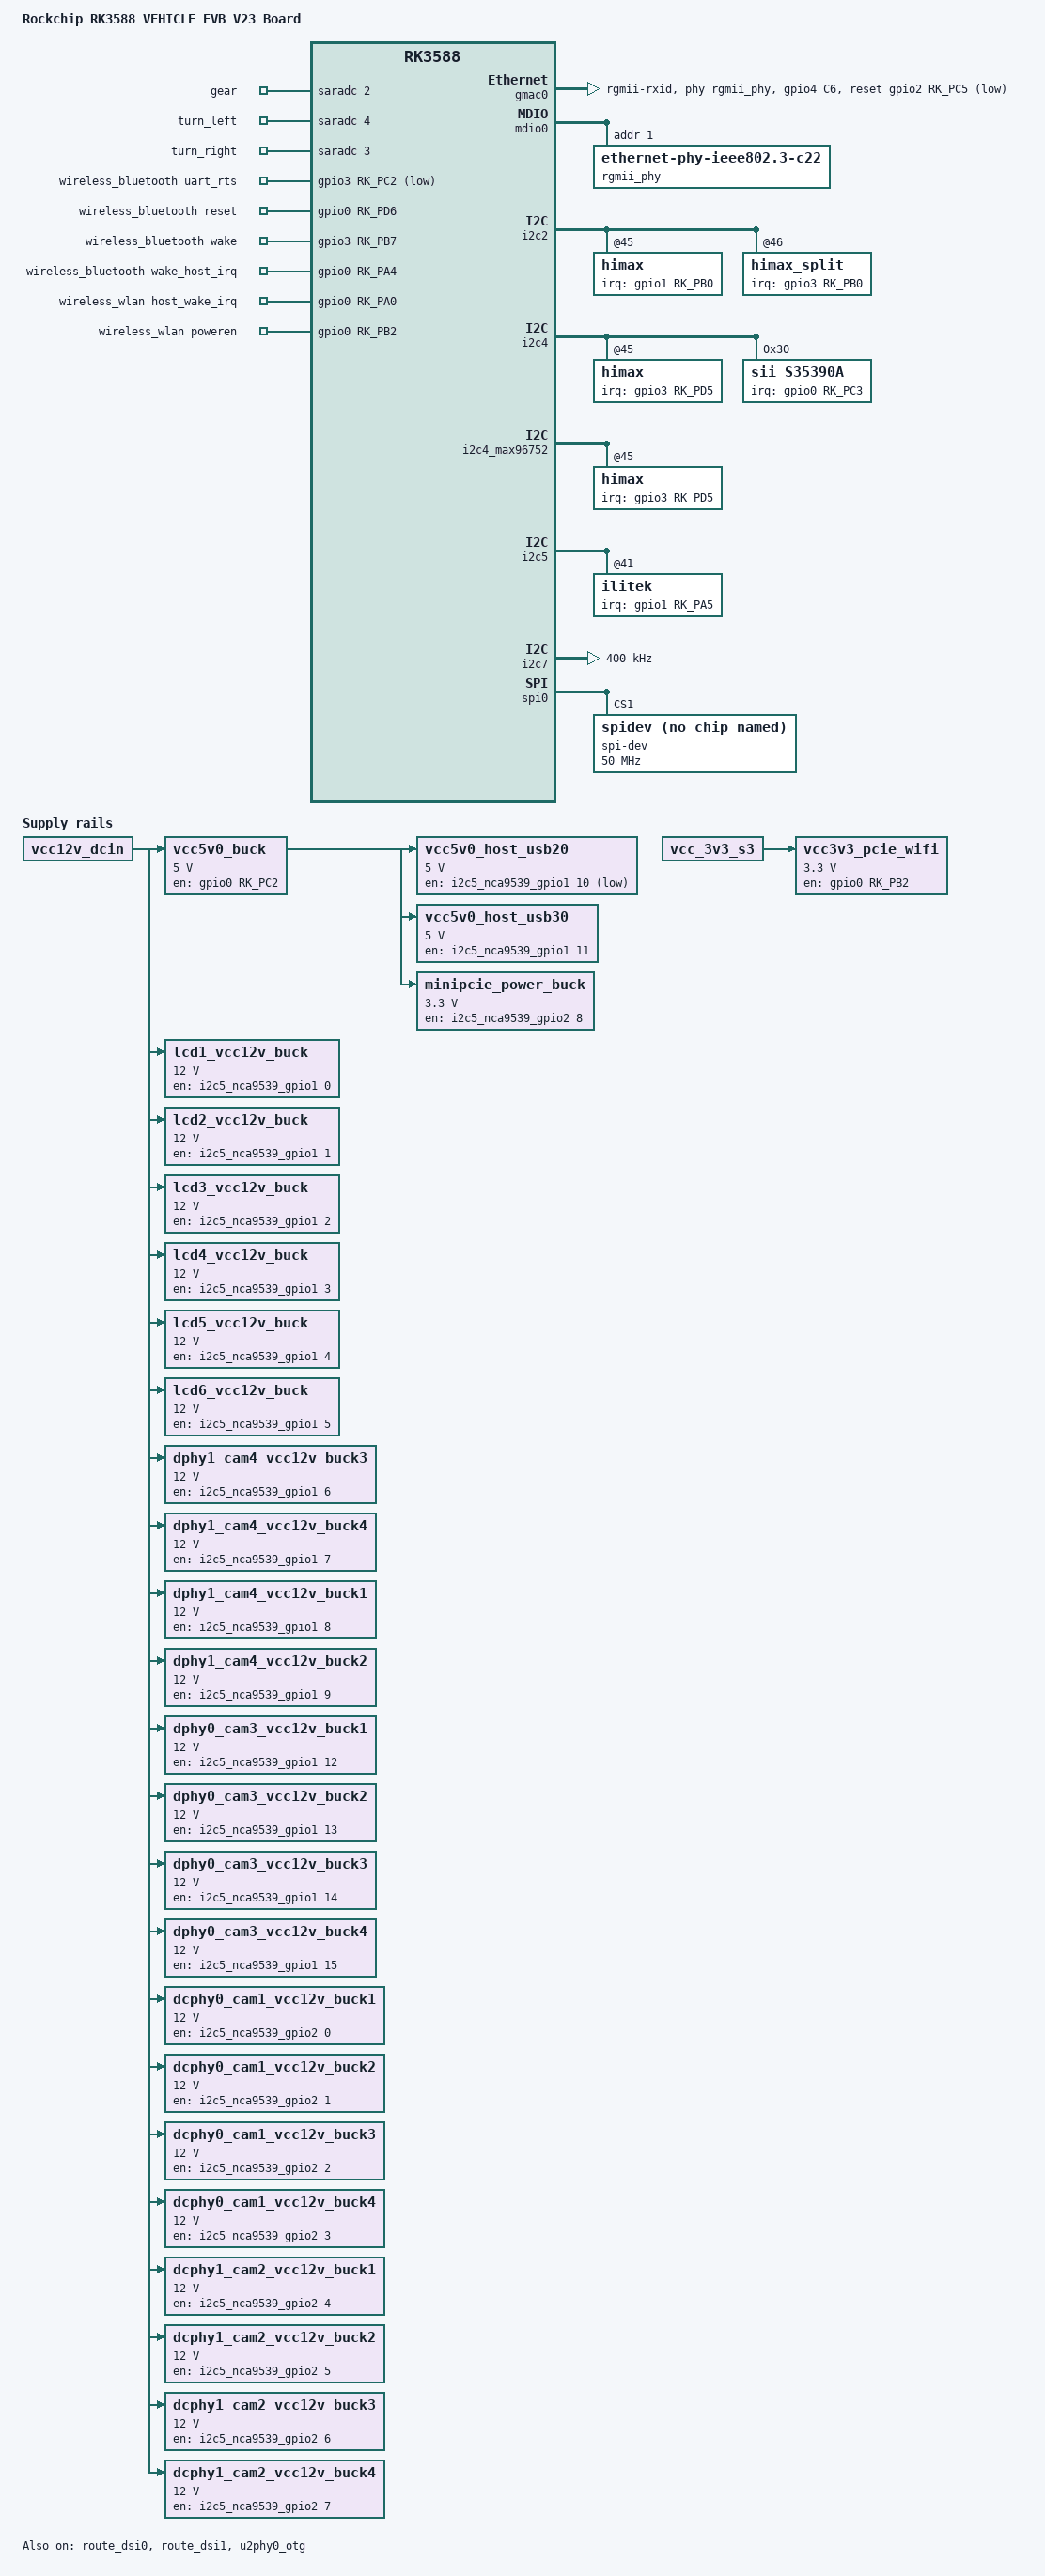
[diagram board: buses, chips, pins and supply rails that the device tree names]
// SPDX-License-Identifier: (GPL-2.0+ OR MIT)
/*
 * Copyright (c) 2023 Rockchip Electronics Co., Ltd.
 *
 */

/dts-v1/;

#include "rk3588-vehicle-evb-v21.dtsi"
#include "rk3588-vehicle-evb-v23-nca9539-io-expander.dtsi"
#include "rk3588-vehicle-evb-maxim-max96712-dphy3-isx021.dtsi"
#include "rk3588-vehicle-evb-maxim-max96756-dphy0.dtsi"
#include "rk3588-vehicle-serdes-mfd-display-maxim.dtsi"
#include "rk3588-vehicle-evb-v23-audio.dtsi"
#include "rk3588-android.dtsi"

/ {
	model = "Rockchip RK3588 VEHICLE EVB V23 Board";
	compatible = "rockchip,rk3588-vehicle-evb-v23", "rockchip,rk3588";

	chosen: chosen {
		bootargs = "earlycon=uart8250,mmio32,0xfeb50000 console=ttyFIQ0 irqchip.gicv3_pseudo_nmi=0 rcupdate.rcu_expedited=1 rcu_nocbs=all spidev.bufsiz=131072";
	};

	vcc5v0_buck: vcc5v0-buck {
		compatible = "regulator-fixed";
		regulator-name = "vcc5v0_buck";
		regulator-boot-on;
		regulator-always-on;
		regulator-min-microvolt = <5000000>;
		regulator-max-microvolt = <5000000>;
		enable-active-high;
		gpio = <&gpio0 RK_PC2 GPIO_ACTIVE_HIGH>;
		vin-supply = <&vcc12v_dcin>;
		pinctrl-names = "default";
		pinctrl-0 = <&vcc5v0_buck_en>;
		startup-delay-us = <2500>;
		off-on-delay-us = <1500>;
		regulator-state-mem {
			regulator-on-in-suspend;
			regulator-suspend-microvolt = <5000000>;
		};
	};
#if 0
	vcc4v0_sys_mode: vcc4v0-sys-mode {
		compatible = "regulator-fixed";
		regulator-name = "vcc4v0_sys_mode";
		regulator-boot-on;
		regulator-always-on;
		regulator-min-microvolt = <4000000>;
		regulator-max-microvolt = <4000000>;
		enable-active-high;
		gpio = <&gpio0 RK_PC2 GPIO_ACTIVE_LOW>;
		vin-supply = <&vcc12v_dcin>;
		pinctrl-names = "default";
		pinctrl-0 = <&vcc4v0_sys_mode_en>;
		regulator-state-mem {
			regulator-off-in-suspend;
			regulator-suspend-microvolt = <4000000>;
		};
	};
#endif

	lcd1_vcc12v_buck: lcd1_vcc12v-buck {
		compatible = "regulator-fixed";
		regulator-name = "lcd1_vcc12v_buck";
		regulator-boot-on;
		regulator-always-on;
		regulator-min-microvolt = <12000000>;
		regulator-max-microvolt = <12000000>;
		enable-active-high;
		gpio = <&i2c5_nca9539_gpio1 0 GPIO_ACTIVE_HIGH>;
		vin-supply = <&vcc12v_dcin>;
		regulator-state-mem {
			regulator-off-in-suspend;
			regulator-suspend-microvolt = <12000000>;
		};
	};

	lcd2_vcc12v_buck: lcd2_vcc12v-buck {
		compatible = "regulator-fixed";
		regulator-name = "lcd2_vcc12v_buck";
		regulator-boot-on;
		regulator-always-on;
		regulator-min-microvolt = <12000000>;
		regulator-max-microvolt = <12000000>;
		enable-active-high;
		gpio = <&i2c5_nca9539_gpio1 1 GPIO_ACTIVE_HIGH>;
		vin-supply = <&vcc12v_dcin>;
		regulator-state-mem {
			regulator-off-in-suspend;
			regulator-suspend-microvolt = <12000000>;
		};
	};

	lcd3_vcc12v_buck: lcd3_vcc12v-buck {
		compatible = "regulator-fixed";
		regulator-name = "lcd3_vcc12v_buck";
		regulator-boot-on;
		regulator-always-on;
		regulator-min-microvolt = <12000000>;
		regulator-max-microvolt = <12000000>;
		enable-active-high;
		gpio = <&i2c5_nca9539_gpio1 2 GPIO_ACTIVE_HIGH>;
		vin-supply = <&vcc12v_dcin>;
		regulator-state-mem {
			regulator-off-in-suspend;
			regulator-suspend-microvolt = <12000000>;
		};
	};

	lcd4_vcc12v_buck: lcd4_vcc12v-buck {
		compatible = "regulator-fixed";
		regulator-name = "lcd4_vcc12v_buck";
		regulator-boot-on;
		regulator-always-on;
		regulator-min-microvolt = <12000000>;
		regulator-max-microvolt = <12000000>;
		enable-active-high;
		gpio = <&i2c5_nca9539_gpio1 3 GPIO_ACTIVE_HIGH>;
		vin-supply = <&vcc12v_dcin>;
		regulator-state-mem {
			regulator-off-in-suspend;
			regulator-suspend-microvolt = <12000000>;
		};
	};

	lcd5_vcc12v_buck: lcd5_vcc12v-buck {
		compatible = "regulator-fixed";
		regulator-name = "lcd5_vcc12v_buck";
		regulator-boot-on;
		regulator-always-on;
		regulator-min-microvolt = <12000000>;
		regulator-max-microvolt = <12000000>;
		enable-active-high;
		gpio = <&i2c5_nca9539_gpio1 4 GPIO_ACTIVE_HIGH>;
		vin-supply = <&vcc12v_dcin>;
		regulator-state-mem {
			regulator-off-in-suspend;
			regulator-suspend-microvolt = <12000000>;
		};
	};

	lcd6_vcc12v_buck: lcd6_vcc12v-buck {
		compatible = "regulator-fixed";
		regulator-name = "lcd6_vcc12v_buck";
		regulator-boot-on;
		regulator-always-on;
		regulator-min-microvolt = <12000000>;
		regulator-max-microvolt = <12000000>;
		enable-active-high;
		gpio = <&i2c5_nca9539_gpio1 5 GPIO_ACTIVE_HIGH>;
		vin-supply = <&vcc12v_dcin>;
		regulator-state-mem {
			regulator-off-in-suspend;
			regulator-suspend-microvolt = <12000000>;
		};
	};

	dphy1_cam4_vcc12v_buck3: dphy1_vcc12v-buck3 {
		compatible = "regulator-fixed";
		regulator-name = "dphy1_cam4_vcc12v_buck3";
		regulator-boot-on;
		regulator-min-microvolt = <12000000>;
		regulator-max-microvolt = <12000000>;
		enable-active-high;
		gpio = <&i2c5_nca9539_gpio1 6 GPIO_ACTIVE_HIGH>;
		startup-delay-us = <2000>;
		off-on-delay-us = <16000>;
		vin-supply = <&vcc12v_dcin>;
		regulator-state-mem {
			regulator-off-in-suspend;
			regulator-suspend-microvolt = <12000000>;
		};
	};

	dphy1_cam4_vcc12v_buck4: dphy1_vcc12v-buck4 {
		compatible = "regulator-fixed";
		regulator-name = "dphy1_cam4_vcc12v_buck4";
		regulator-boot-on;
		regulator-min-microvolt = <12000000>;
		regulator-max-microvolt = <12000000>;
		enable-active-high;
		gpio = <&i2c5_nca9539_gpio1 7 GPIO_ACTIVE_HIGH>;
		startup-delay-us = <2000>;
		off-on-delay-us = <16000>;
		vin-supply = <&vcc12v_dcin>;
		regulator-state-mem {
			regulator-off-in-suspend;
			regulator-suspend-microvolt = <12000000>;
		};
	};

	dphy1_cam4_vcc12v_buck1: dphy1_vcc12v-buck1 {
		compatible = "regulator-fixed";
		regulator-name = "dphy1_cam4_vcc12v_buck1";
		regulator-boot-on;
		regulator-min-microvolt = <12000000>;
		regulator-max-microvolt = <12000000>;
		enable-active-high;
		gpio = <&i2c5_nca9539_gpio1 8 GPIO_ACTIVE_HIGH>;
		startup-delay-us = <2000>;
		off-on-delay-us = <16000>;
		vin-supply = <&vcc12v_dcin>;
		regulator-state-mem {
			regulator-off-in-suspend;
			regulator-suspend-microvolt = <12000000>;
		};
	};

	dphy1_cam4_vcc12v_buck2: dphy1_vcc12v-buck2 {
		compatible = "regulator-fixed";
		regulator-name = "dphy1_cam4_vcc12v_buck2";
		regulator-boot-on;
		regulator-min-microvolt = <12000000>;
		regulator-max-microvolt = <12000000>;
		enable-active-high;
		gpio = <&i2c5_nca9539_gpio1 9 GPIO_ACTIVE_HIGH>;
		startup-delay-us = <2000>;
		off-on-delay-us = <16000>;
		vin-supply = <&vcc12v_dcin>;
		regulator-state-mem {
			regulator-off-in-suspend;
			regulator-suspend-microvolt = <12000000>;
		};
	};

	vcc5v0_host_usb20: vcc5v0-host-usb20 {
		compatible = "regulator-fixed";
		regulator-name = "vcc5v0_host_usb20";
		regulator-boot-on;
		regulator-always-on;
		regulator-min-microvolt = <5000000>;
		regulator-max-microvolt = <5000000>;
		//enable-active-high;
		gpio = <&i2c5_nca9539_gpio1 10 GPIO_ACTIVE_HIGH>;
		startup-delay-us = <2000>;
		off-on-delay-us = <16000>;
		vin-supply = <&vcc5v0_buck>;
	};

	vcc5v0_host_usb30: vcc5v0-host-usb30 {
		compatible = "regulator-fixed";
		regulator-name = "vcc5v0_host_usb30";
		regulator-boot-on;
		regulator-always-on;
		regulator-min-microvolt = <5000000>;
		regulator-max-microvolt = <5000000>;
		enable-active-high;
		gpio = <&i2c5_nca9539_gpio1 11 GPIO_ACTIVE_HIGH>;
		startup-delay-us = <2000>;
		off-on-delay-us = <16000>;
		vin-supply = <&vcc5v0_buck>;
	};

	dphy0_cam3_vcc12v_buck1: dphy0_vcc12v-buck1 {
		compatible = "regulator-fixed";
		regulator-name = "dphy0_cam3_vcc12v_buck1";
		regulator-boot-on;
		regulator-min-microvolt = <12000000>;
		regulator-max-microvolt = <12000000>;
		enable-active-high;
		gpio = <&i2c5_nca9539_gpio1 12 GPIO_ACTIVE_HIGH>;
		startup-delay-us = <2000>;
		off-on-delay-us = <16000>;
		vin-supply = <&vcc12v_dcin>;
		regulator-state-mem {
			regulator-off-in-suspend;
			regulator-suspend-microvolt = <12000000>;
		};
	};

	dphy0_cam3_vcc12v_buck2: dphy0_vcc12v-buck2 {
		compatible = "regulator-fixed";
		regulator-name = "dphy0_cam3_vcc12v_buck2";
		regulator-boot-on;
		regulator-min-microvolt = <12000000>;
		regulator-max-microvolt = <12000000>;
		enable-active-high;
		gpio = <&i2c5_nca9539_gpio1 13 GPIO_ACTIVE_HIGH>;
		startup-delay-us = <2000>;
		off-on-delay-us = <16000>;
		vin-supply = <&vcc12v_dcin>;
		regulator-state-mem {
			regulator-off-in-suspend;
			regulator-suspend-microvolt = <12000000>;
		};
	};

	dphy0_cam3_vcc12v_buck3: dphy0_vcc12v-buck3 {
		compatible = "regulator-fixed";
		regulator-name = "dphy0_cam3_vcc12v_buck3";
		regulator-boot-on;
		regulator-min-microvolt = <12000000>;
		regulator-max-microvolt = <12000000>;
		enable-active-high;
		gpio = <&i2c5_nca9539_gpio1 14 GPIO_ACTIVE_HIGH>;
		startup-delay-us = <2000>;
		off-on-delay-us = <16000>;
		vin-supply = <&vcc12v_dcin>;
		regulator-state-mem {
			regulator-off-in-suspend;
			regulator-suspend-microvolt = <12000000>;
		};
	};

	dphy0_cam3_vcc12v_buck4: dphy0_vcc12v-buck4 {
		compatible = "regulator-fixed";
		regulator-name = "dphy0_cam3_vcc12v_buck4";
		regulator-boot-on;
		regulator-min-microvolt = <12000000>;
		regulator-max-microvolt = <12000000>;
		enable-active-high;
		gpio = <&i2c5_nca9539_gpio1 15 GPIO_ACTIVE_HIGH>;
		startup-delay-us = <2000>;
		off-on-delay-us = <16000>;
		vin-supply = <&vcc12v_dcin>;
		regulator-state-mem {
			regulator-off-in-suspend;
			regulator-suspend-microvolt = <12000000>;
		};
	};

	dcphy0_cam1_vcc12v_buck1: dcphy0_vcc12v-buck1 {
		compatible = "regulator-fixed";
		regulator-name = "dcphy0_cam1_vcc12v_buck1";
		regulator-boot-on;
		regulator-min-microvolt = <12000000>;
		regulator-max-microvolt = <12000000>;
		enable-active-high;
		gpio = <&i2c5_nca9539_gpio2 0 GPIO_ACTIVE_HIGH>;
		startup-delay-us = <2000>;
		off-on-delay-us = <16000>;
		vin-supply = <&vcc12v_dcin>;
		regulator-state-mem {
			regulator-off-in-suspend;
			regulator-suspend-microvolt = <12000000>;
		};
	};

	dcphy0_cam1_vcc12v_buck2: dcphy0_vcc12v-buck2 {
		compatible = "regulator-fixed";
		regulator-name = "dcphy0_cam1_vcc12v_buck2";
		regulator-boot-on;
		regulator-min-microvolt = <12000000>;
		regulator-max-microvolt = <12000000>;
		enable-active-high;
		gpio = <&i2c5_nca9539_gpio2 1 GPIO_ACTIVE_HIGH>;
		startup-delay-us = <2000>;
		off-on-delay-us = <16000>;
		vin-supply = <&vcc12v_dcin>;
		regulator-state-mem {
			regulator-off-in-suspend;
			regulator-suspend-microvolt = <12000000>;
		};
	};

	dcphy0_cam1_vcc12v_buck3: dcphy0_vcc12v-buck3 {
		compatible = "regulator-fixed";
		regulator-name = "dcphy0_cam1_vcc12v_buck3";
		regulator-boot-on;
		regulator-min-microvolt = <12000000>;
		regulator-max-microvolt = <12000000>;
		enable-active-high;
		gpio = <&i2c5_nca9539_gpio2 2 GPIO_ACTIVE_HIGH>;
		startup-delay-us = <2000>;
		off-on-delay-us = <16000>;
		vin-supply = <&vcc12v_dcin>;
		regulator-state-mem {
			regulator-off-in-suspend;
			regulator-suspend-microvolt = <12000000>;
		};
	};

	dcphy0_cam1_vcc12v_buck4: dcphy0_vcc12v-buck4 {
		compatible = "regulator-fixed";
		regulator-name = "dcphy0_cam1_vcc12v_buck4";
		regulator-boot-on;
		regulator-min-microvolt = <12000000>;
		regulator-max-microvolt = <12000000>;
		enable-active-high;
		gpio = <&i2c5_nca9539_gpio2 3 GPIO_ACTIVE_HIGH>;
		startup-delay-us = <2000>;
		off-on-delay-us = <16000>;
		vin-supply = <&vcc12v_dcin>;
		regulator-state-mem {
			regulator-off-in-suspend;
			regulator-suspend-microvolt = <12000000>;
		};
	};

	dcphy1_cam2_vcc12v_buck1: dcphy1_vcc12v-buck1 {
		compatible = "regulator-fixed";
		regulator-name = "dcphy1_cam2_vcc12v_buck1";
		regulator-boot-on;
		regulator-min-microvolt = <12000000>;
		regulator-max-microvolt = <12000000>;
		enable-active-high;
		gpio = <&i2c5_nca9539_gpio2 4 GPIO_ACTIVE_HIGH>;
		startup-delay-us = <2000>;
		off-on-delay-us = <16000>;
		vin-supply = <&vcc12v_dcin>;
		regulator-state-mem {
			regulator-off-in-suspend;
			regulator-suspend-microvolt = <12000000>;
		};
	};

	dcphy1_cam2_vcc12v_buck2: dcphy1_vcc12v-buck2 {
		compatible = "regulator-fixed";
		regulator-name = "dcphy1_cam2_vcc12v_buck2";
		regulator-boot-on;
		regulator-min-microvolt = <12000000>;
		regulator-max-microvolt = <12000000>;
		enable-active-high;
		gpio = <&i2c5_nca9539_gpio2 5 GPIO_ACTIVE_HIGH>;
		startup-delay-us = <2000>;
		off-on-delay-us = <16000>;
		vin-supply = <&vcc12v_dcin>;
		regulator-state-mem {
			regulator-off-in-suspend;
			regulator-suspend-microvolt = <12000000>;
		};
	};

	dcphy1_cam2_vcc12v_buck3: dcphy1_vcc12v-buck3 {
		compatible = "regulator-fixed";
		regulator-name = "dcphy1_cam2_vcc12v_buck3";
		regulator-boot-on;
		regulator-min-microvolt = <12000000>;
		regulator-max-microvolt = <12000000>;
		enable-active-high;
		gpio = <&i2c5_nca9539_gpio2 6 GPIO_ACTIVE_HIGH>;
		startup-delay-us = <2000>;
		off-on-delay-us = <16000>;
		vin-supply = <&vcc12v_dcin>;
		regulator-state-mem {
			regulator-off-in-suspend;
			regulator-suspend-microvolt = <12000000>;
		};
	};

	dcphy1_cam2_vcc12v_buck4: dcphy1_vcc12v-buck4 {
		compatible = "regulator-fixed";
		regulator-name = "dcphy1_cam2_vcc12v_buck4";
		regulator-boot-on;
		regulator-min-microvolt = <12000000>;
		regulator-max-microvolt = <12000000>;
		enable-active-high;
		gpio = <&i2c5_nca9539_gpio2 7 GPIO_ACTIVE_HIGH>;
		startup-delay-us = <2000>;
		off-on-delay-us = <16000>;
		vin-supply = <&vcc12v_dcin>;
		regulator-state-mem {
			regulator-off-in-suspend;
			regulator-suspend-microvolt = <12000000>;
		};
	};

	minipcie_power_buck: minipcie_power-buck {
		compatible = "regulator-fixed";
		regulator-name = "minipcie_power_buck";
		regulator-boot-on;
		//regulator-always-on;
		regulator-min-microvolt = <3300000>;
		regulator-max-microvolt = <3300000>;
		enable-active-high;
		gpio = <&i2c5_nca9539_gpio2 8 GPIO_ACTIVE_HIGH>;
		vin-supply = <&vcc5v0_buck>;
		regulator-state-mem {
			regulator-on-in-suspend;
			regulator-suspend-microvolt = <3300000>;
		};
	};

	vehicle_dummy: vehicle-dummy {
		status = "okay";
		compatible = "rockchip,vehicle-dummy-adc";
		io-channels = <&saradc 2>, <&saradc 4>, <&saradc 3>;
		io-channel-names = "gear", "turn_left", "turn_right";
	};

	vcc3v3_pcie_wifi: vcc3v3-pcie-wifi {
		compatible = "regulator-fixed";
		regulator-name = "vcc3v3_pcie_wifi";
		regulator-always-on;
		regulator-min-microvolt = <3300000>;
		regulator-max-microvolt = <3300000>;
		enable-active-high;
		gpios = <&gpio0 RK_PB2 GPIO_ACTIVE_HIGH>;
		startup-delay-us = <5000>;
		vin-supply = <&vcc_3v3_s3>;
	};

	wireless_bluetooth: wireless-bluetooth {
		compatible = "bluetooth-platdata";
		bt_port = "/dev/ttyS7";
		clocks = <&hym8563>;
		clock-names = "ext_clock";
		uart_rts_gpios = <&gpio3 RK_PC2 GPIO_ACTIVE_LOW>;
		pinctrl-names = "default", "rts_gpio";
		pinctrl-0 = <&uart7m1_rtsn>, <&bt_reset_gpio>, <&bt_wake_gpio>, <&bt_irq_gpio>;
		pinctrl-1 = <&uart7_gpios>;
		BT,reset_gpio    = <&gpio0 RK_PD6 GPIO_ACTIVE_HIGH>;
		BT,wake_gpio     = <&gpio3 RK_PB7 GPIO_ACTIVE_HIGH>;
		BT,wake_host_irq = <&gpio0 RK_PA4 GPIO_ACTIVE_HIGH>;
		status = "okay";
	};

	wireless_wlan: wireless-wlan {
		compatible = "wlan-platdata";
		wifi_chip_type = "ap6398s";
		pinctrl-names = "default";
		pinctrl-0 = <&wifi_host_wake_irq>;
		WIFI,host_wake_irq = <&gpio0 RK_PA0 GPIO_ACTIVE_HIGH>;
		WIFI,poweren_gpio = <&gpio0 RK_PB2 GPIO_ACTIVE_HIGH>;
		status = "okay";
	};
};

&dfi {
	status = "disabled";
};

&dmc {
	status = "disabled";
};

&gmac0 {
	/* Use rgmii-rxid mode to disable rx delay inside Soc */
	phy-mode = "rgmii-rxid";
	clock_in_out = "output";
	snps,reset-gpio = <&gpio2 RK_PC5 GPIO_ACTIVE_LOW>;
	snps,reset-active-low;
	/* Reset time is 20ms, 100ms for rtl8211f */
	snps,reset-delays-us = <0 20000 100000>;
	pinctrl-names = "default";
	pinctrl-0 = <&gmac0_miim
		     &gmac0_tx_bus2
		     &gmac0_rx_bus2
		     &gmac0_rgmii_clk
		     &gmac0_rgmii_bus
		     &phydisb>;
	tx_delay = <0x20>;
	phy-handle = <&rgmii_phy>;
	status = "okay";
};

&mdio0 {
	rgmii_phy: phy@1 {
		compatible = "ethernet-phy-ieee802.3-c22";
		reg = <0x1>;
		motorcomm,vddio = "1v8";
	};
};

&hym8563 {
	status = "disabled";
};

&max96712_dphy3_vcc1v2 {
	vin-supply = <&vcc5v0_buck>;
};

&max96712_dphy3_pwdn_regulator {
	gpio = <&gpio4 RK_PD2 GPIO_ACTIVE_HIGH>;
};

&max96712_dphy3_poc_regulator {
	vin-supply = <&dphy1_cam4_vcc12v_buck1>;
	gpio = <&gpio4 RK_PD5 GPIO_ACTIVE_HIGH>;
};

&max96712_dphy3 {
	lock-gpios = <&gpio4 RK_PD4 GPIO_ACTIVE_HIGH>;
};

&max96756_dphy0_vcc1v2 {
	vin-supply = <&vcc5v0_buck>;
};

&avdd1v8_ddr_pll_s0 {
	regulator-state-mem {
		regulator-on-in-suspend;
		regulator-suspend-microvolt = <1800000>;
	};
};

&i2c2 {
	himax@45 {
		himax,irq-gpio = <&gpio1 RK_PB0 IRQ_TYPE_EDGE_FALLING>;
	};

	himax_split@46 {
		himax,irq-gpio = <&gpio3 RK_PB0 IRQ_TYPE_EDGE_FALLING>;
	};
};

/*dsi0*/
&i2c2_max96789 {
	route-enable;
};

&i2c2_max96752 {
	use-reg-check-work;
	vpower-supply = <&lcd1_vcc12v_buck>;
};

&i2c2_max96752_split {
	use-reg-check-work;
	vpower-supply = <&lcd2_vcc12v_buck>;
};

/*dp0*/
&i2c4 {
	himax@45 {
		himax,irq-gpio = <&gpio3 RK_PD5 IRQ_TYPE_EDGE_FALLING>;
	};

	s35390a: s35390a@30 {
		compatible = "sii,s35390a";
		reg = <0x30>;
		pinctrl-names = "default";
		pinctrl-0 = <&s35390a_int>;
		interrupt-parent = <&gpio0>;
		interrupts = <RK_PC3 IRQ_TYPE_LEVEL_LOW>;
		wakeup-source;
	};
};

&i2c4_max96745 {
	//use-delay-work;
};

&i2c4_max96752 {
	use-reg-check-work;
	vpower-supply = <&lcd5_vcc12v_buck>;

	himax@45 {
		himax,irq-gpio = <&gpio3 RK_PD5 IRQ_TYPE_EDGE_FALLING>;
	};
};

/*edp0*/
&i2c5 {
	pinctrl-names = "default";
	pinctrl-0 = <&i2c5m0_xfer>;

	ilitek@41 {
		interrupt-parent = <&gpio1>;
		interrupts = <RK_PA5 IRQ_TYPE_LEVEL_LOW>;
	};
};

&i2c5_max96745 {
	//use-delay-work;
};

&i2c5_max96752 {
	use-reg-check-work;
	vpower-supply = <&lcd3_vcc12v_buck>;
};

&i2c6 {
	pinctrl-names = "default";
	pinctrl-0 = <&i2c6m1_xfer>;
};

&i2c7 {
	status = "okay";
	clock-frequency = <400000>;
	pinctrl-names = "default";
	pinctrl-0 = <&i2c7m0_xfer>;
};

&max96756 {
	lock-gpios = <&gpio1 RK_PB1 GPIO_ACTIVE_HIGH>;
};

&pinctrl {
	pinctrl-names = "init";
	pinctrl-0 = <&max96712_dphy3_pwdn
			&max96712_dphy3_errb
			&max96712_dphy3_lock
			&adsp_reset_l
			&adsp_bootroom_l>;


	gmac0 {
		phydisb: phydisb {
			rockchip,pins = <4 RK_PC6 RK_FUNC_GPIO &pcfg_output_high>;
		};
	};

	max96712-dphy3 {
		max96712_dphy3_pwdn: max96712-dphy3-pwdn {
			rockchip,pins = <4 RK_PD2 RK_FUNC_GPIO &pcfg_output_low>;
		};

		max96712_dphy3_errb: max96712-dphy3-errb {
			rockchip,pins = <4 RK_PD3 RK_FUNC_GPIO &pcfg_pull_none_smt>;
		};

		max96712_dphy3_lock: max96712-dphy3-lock {
			rockchip,pins = <4 RK_PD4 RK_FUNC_GPIO &pcfg_pull_none_smt>;
		};
	};

	max96756-dphy0 {
		max96756_dphy0_lock: max96756-dphy0-lock {
			rockchip,pins = <1 RK_PB1 RK_FUNC_GPIO &pcfg_pull_none_smt>;
		};
	};

	adsp {
		adsp_bootroom_l: adsp-bootroom-l {
			rockchip,pins = <2 RK_PB5 RK_FUNC_GPIO &pcfg_output_low_pull_down>;
		};

		adsp_reset_l: adsp-reset-l {
			rockchip,pins = <4 RK_PA7 RK_FUNC_GPIO &pcfg_output_low_pull_down>;
		};
	};

	s35390a {
		s35390a_int: s35390a-int {
			rockchip,pins = <0 RK_PC3 RK_FUNC_GPIO &pcfg_pull_up>;
		};
	};

	touch {
		//dsi0-i2c2
		touch_gpio_dsi0: touch-gpio-dsi0 {
			rockchip,pins =
				<1 RK_PB0 RK_FUNC_GPIO &pcfg_pull_up>;  //RST->V22 INT
		};
		//dsi1-i2c6
		touch_gpio_dsi1: touch-gpio-dsi1 {
			rockchip,pins =
				<3 RK_PB0 RK_FUNC_GPIO &pcfg_pull_up>;  //INT
		};
		//dp0-i2c4
		touch_gpio_dp0: touch-gpio-dp0 {
			rockchip,pins =
				<3 RK_PD5 RK_FUNC_GPIO &pcfg_pull_up>;
		};
		//edp0-i2c5
		touch_gpio_edp0: touch-gpio-edp0 {
			rockchip,pins =
				<1 RK_PA5 RK_FUNC_GPIO &pcfg_pull_up>;  //INT
		};
	};

	vcc5v0-buck {
		vcc5v0_buck_en: vcc5v0-buck-en {
			rockchip,pins = <0 RK_PC2 RK_FUNC_GPIO &pcfg_pull_none>;
		};
	};
#if 0
	vcc4v0-mode {
		vcc4v0_sys_mode_en: vcc4v0-sys-mode-en {
			rockchip,pins = <0 RK_PC2 RK_FUNC_GPIO &pcfg_pull_none>;
		};
	};
#endif
	wireless-bluetooth {
		uart7_gpios: uart7-gpios {
			rockchip,pins = <3 RK_PC2 RK_FUNC_GPIO &pcfg_pull_none>;
		};

		bt_reset_gpio: bt-reset-gpio {
			rockchip,pins = <0 RK_PD6 RK_FUNC_GPIO &pcfg_pull_none>;
		};

		bt_wake_gpio: bt-wake-gpio {
			rockchip,pins = <3 RK_PB7 RK_FUNC_GPIO &pcfg_pull_none>;
		};

		bt_irq_gpio: bt-irq-gpio {
			rockchip,pins = <0 RK_PA4 RK_FUNC_GPIO &pcfg_pull_none>;
		};
	};

	wireless-wlan {
		wifi_host_wake_irq: wifi-host-wake-irq {
			rockchip,pins = <0 RK_PA0 RK_FUNC_GPIO &pcfg_pull_down>;
		};
	};
};

&pmic_pins {
	rockchip,pins =
		/* pmic_int_l */
		<0 RK_PA7 0 &pcfg_pull_up>,
		/* pmic_sleep1 */
		<0 RK_PA2 1 &pcfg_pull_none>,
		/* pmic_sleep2 */
		<0 RK_PA3 1 &pcfg_pull_none>,
		/* pmic_sleep3 */
		<0 RK_PC1 1 &pcfg_pull_none>;
};

&rockchip_suspend {
	rockchip,sleep-mode-config = <
		(0
		| RKPM_SLP_ARMOFF_DDRPD
		| RKPM_SLP_PMU_PMUALIVE_32K
		| RKPM_SLP_PMU_DIS_OSC
		| RKPM_SLP_32K_EXT
		)
	>;
	rockchip,wakeup-config = <
		(0
		| RKPM_CPU0_WKUP_EN
		| RKPM_GPIO_WKUP_EN
		)
	>;
	status = "okay";
};

&route_dsi0 {
	status = "okay";
};

&route_dsi1 {
	status = "okay";
};

&spi0 {
	status = "okay";
	pinctrl-names = "default";
	pinctrl-0 = <&spi0m0_cs1 &spi0m0_pins>;
	spi-dev@1 {
		compatible = "rockchip,spidev";
		reg = <0x1>;
		spi-max-frequency = <50000000>;
		spi-lsb-first;
	};
};

&spi4 {
	status = "disabled";
};

&u2phy0_otg {
	//phy-supply = <&vcc5v0_host_usb20>;
	status = "okay";
};

&u2phy1_otg {
	phy-supply = <&vcc5v0_host_usb30>;
};

&u2phy2_host {
	phy-supply = <&vcc5v0_host_usb30>;
};

&u2phy3_host {
	phy-supply = <&vcc5v0_host_usb30>;
};

&usbdp_phy0_u3 {
	status = "disabled";
};

&usbdp_phy1_u3 {
	status = "disabled";
};

&vdd_log_s0 {
	regulator-state-mem {
		regulator-on-in-suspend;
		regulator-suspend-microvolt = <800000>;
	};
};

&vcc_3v3_s0 {
	regulator-state-mem {
		regulator-on-in-suspend;
		regulator-suspend-microvolt = <3300000>;
	};
};

&vcc_1v8_s0 {
	regulator-state-mem {
		regulator-on-in-suspend;
		regulator-suspend-microvolt = <1800000>;
	};
};

&vdd_1v8_pll_s0 {
		regulator-on-in-suspend;
		regulator-suspend-microvolt = <1800000>;
};

&vcc5v0_host {
	status = "disabled";
};

&uart9 {
	status = "disabled";
};
